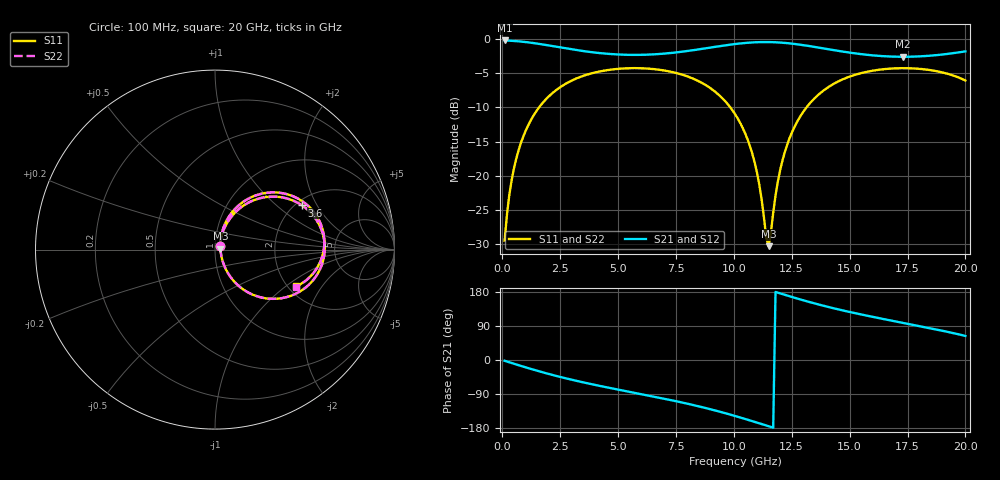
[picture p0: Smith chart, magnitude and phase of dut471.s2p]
! Touchstone file exported from HFSS 2026.1.0
!  File:  C:/ffzhzh/LocalFiles/Ansys_Project_Files/temp_train_TSV_RDL_471_1783103077_53076.aedt
!  Generated:  02:36:58 AM Jul  4, 2026
!  Design:  TSV_RDL
!  Project:  temp_train_TSV_RDL_471_1783103077_53076
! Variables:
!  h_bsmrdl = 5.78um
!  h_ox = 20um
!  h_rdl = 5um
!  h_sub = 63.36um
!  h_tmrdl = 4.06um
!  h_tsv = 63.36um
!  h_via = 3um
!  l_bsmrdl = 387.94um
!  l_sub = 5174.03um
!  l_tmrdl = 879.16um
!  m_sub = 200um
!  pitch = 54.05um
!  r_tsv = 14.45um
!  s_tmrdl = 10um
!  w_bsmrdl = 15.64um
!  w_sub = 500um
!  w_tmrdl = 15.55um
!  x_tsv_center1 = 886.935um
!  x_tsv_center2 = 1290.515um
!  x_tsv_center3 = 2185.225um
!  x_tsv_center4 = 2588.805um
!  x_tsv_center5 = 3483.515um
!  x_tsv_center6 = 3887.095um
# GHz S MA R 50.000000
! Terminal data exported
! Port[1] = TM_RDL1_1_T1
! Port[2] = TM_RDL5_1_T1
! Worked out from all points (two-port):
!   200 points, 100 MHz to 20 GHz, reference 50 ohm
!   highest |S21| = -0.22 dB at 100 MHz (marker M1); lowest = -2.6 dB at 17.3 GHz (marker M2)
!   |S21| within 3 dB of the highest: start of sweep to end of sweep
!   lowest |S11| = -30.3 dB at 11.5 GHz (marker M3), VSWR 1.06, Z = 53.1 + j0.479 ohm
!   |S11| at or under -10 dB: start of sweep to 1.591 GHz; 9.845 GHz to 13.14 GHz (3.297 GHz wide, 28.7 % of centre)
!   |S22| runs from -30.2 to -4.3 dB; largest |S21 - S12| = 1.7e-14
!   S11 on the Smith chart (normalised r, x): 100 MHz: 1.05, +0.05; 3.6 GHz: 2.17, +1.51; 20 GHz: 2.20, -1.20
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0.1  0.0335 40.7  0.9751 -2.0  0.9751 -2.0  0.0335 40.7
! Gamma 0 0 0 0
! Port Impedance 50 0 50 0
0.3  0.07164 62.8  0.9718 -6.0  0.9718 -6.0  0.07164 62.8
0.5  0.1124 66.3  0.967 -9.8  0.967 -9.8  0.1124 66.3
1.1  0.2302 61.9  0.9452 -21.1  0.9452 -21.1  0.2302 61.9
2.1  0.393 47.5  0.8911 -38.4  0.8911 -38.4  0.393 47.5
3.5  0.5374 28.1  0.8156 -59.1  0.8156 -59.1  0.5374 28.1
3.6  0.5444 26.8  0.8112 -60.4  0.8112 -60.4  0.5444 26.8
5.2  0.6081 7.6  0.7673 -80.5  0.7673 -80.5  0.608 7.6
6.8  0.5948 -10.8  0.7767 -99.8  0.7767 -99.8  0.5948 -10.8
8.7  0.4691 -34.9  0.85 -125.5  0.85 -125.5  0.469 -34.8
10.1  0.2739 -54.6  0.9201 -148.5  0.9201 -148.5  0.2739 -54.5
10.9  0.1247 -61.2  0.9452 -163.3  0.9452 -163.3  0.1248 -61.0
11.5  0.03051 8.5  0.9491 -174.7  0.9491 -174.7  0.03088 8.5
11.9  0.09048 66.6  0.9437 177.6  0.9437 177.6  0.09066 66.3
12.2  0.1486 68.9  0.9356 172.0  0.9356 172.0  0.1488 68.8
12.7  0.2418 64.6  0.9159 162.8  0.9159 162.8  0.2419 64.5
13.4  0.3558 55.2  0.8796 150.7  0.8796 150.7  0.3559 55.1
14.8  0.5147 36.3  0.8038 129.5  0.8038 129.5  0.5148 36.2
16.7  0.606 13.8  0.7447 105.3  0.7447 105.3  0.606 13.7
17.3  0.6115 7.2  0.7407 98.1  0.7407 98.1  0.6116 7.1
18.7  0.5835 -8.6  0.7601 81.1  0.7601 81.1  0.5836 -8.7
20  0.4969 -24.4  0.8111 63.5  0.8111 63.5  0.497 -24.6
